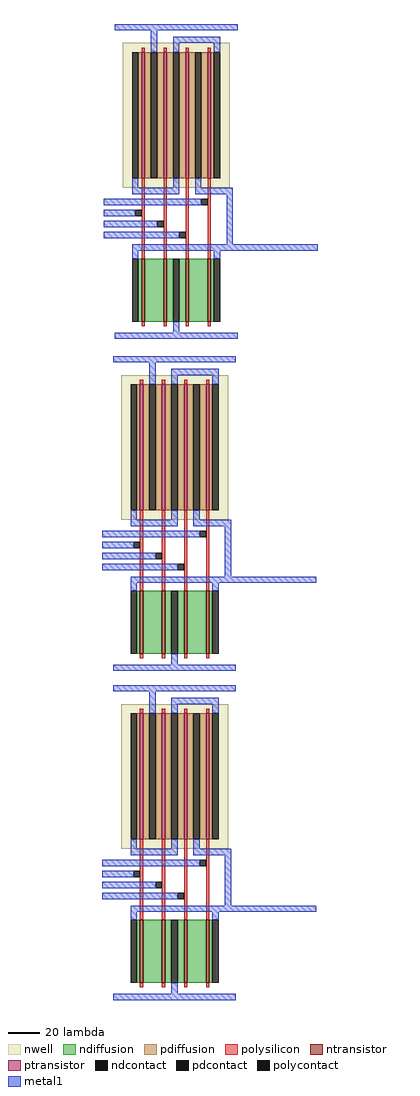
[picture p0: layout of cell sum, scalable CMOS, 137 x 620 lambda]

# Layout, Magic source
magic
tech scmos
<< metal1 >>
rect 85 56 136 60
rect 84 -155 135 -151
rect 84 -364 135 -360
use xor_2W  xor_2W_0
transform 1 0 34 0 1 111
box -34 -111 51 89
use xor_2W  xor_2W_1
transform 1 0 33 0 1 -100
box -34 -111 51 89
use xor_2W  xor_2W_2
transform 1 0 33 0 1 -309
box -34 -111 51 89
<< end >>

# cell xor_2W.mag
magic
tech scmos
<< nwell >>
rect -22 -15 46 77
<< ntransistor >>
rect -10 -100 -8 -60
rect 4 -100 6 -60
rect 18 -100 20 -60
rect 32 -100 34 -60
<< ptransistor >>
rect -10 -9 -8 71
rect 4 -9 6 71
rect 18 -9 20 71
rect 32 -9 34 71
<< ndiffusion >>
rect -12 -100 -10 -60
rect -8 -100 4 -60
rect 6 -100 10 -60
rect 14 -100 18 -60
rect 20 -100 32 -60
rect 34 -100 36 -60
<< pdiffusion >>
rect -12 -9 -10 71
rect -8 -9 -4 71
rect 0 -9 4 71
rect 6 -9 10 71
rect 14 -9 18 71
rect 20 -9 24 71
rect 28 -9 32 71
rect 34 -9 36 71
<< ndcontact >>
rect -16 -100 -12 -60
rect 10 -100 14 -60
rect 36 -100 40 -60
<< pdcontact >>
rect -16 -9 -12 71
rect -4 -9 0 71
rect 10 -9 14 71
rect 24 -9 28 71
rect 36 -9 40 71
<< polysilicon >>
rect -10 71 -8 74
rect 4 71 6 74
rect 18 71 20 74
rect 32 71 34 74
rect -10 -60 -8 -9
rect 4 -60 6 -9
rect 18 -60 20 -9
rect 32 -60 34 -9
rect -10 -103 -8 -100
rect 4 -103 6 -100
rect 18 -103 20 -100
rect 32 -103 34 -100
<< polycontact >>
rect -14 -33 -10 -29
rect 0 -40 4 -36
rect 14 -47 18 -43
rect 28 -26 32 -22
<< metal1 >>
rect -27 85 51 89
rect -4 71 0 85
rect 10 77 40 81
rect 10 71 14 77
rect 36 71 40 77
rect -16 -15 -12 -9
rect 10 -15 14 -9
rect -16 -19 14 -15
rect 24 -15 28 -9
rect 24 -19 48 -15
rect -34 -26 28 -22
rect -34 -33 -14 -29
rect -34 -40 0 -36
rect -34 -47 14 -43
rect 44 -51 48 -19
rect -16 -55 51 -51
rect -16 -60 -12 -55
rect 36 -60 40 -55
rect 10 -107 14 -100
rect -27 -111 51 -107
<< labels >>
rlabel metal1 -27 -111 51 -107 1 gnd
rlabel metal1 -27 85 51 89 5 vdd
rlabel metal1 -16 -55 51 -51 1 out
rlabel metal1 -34 -26 28 -22 1 in_a_bar
rlabel metal1 -34 -33 -14 -29 1 in_a
rlabel metal1 -34 -40 0 -36 1 in_b
rlabel metal1 -34 -47 14 -43 1 in_b_bar
<< end >>
